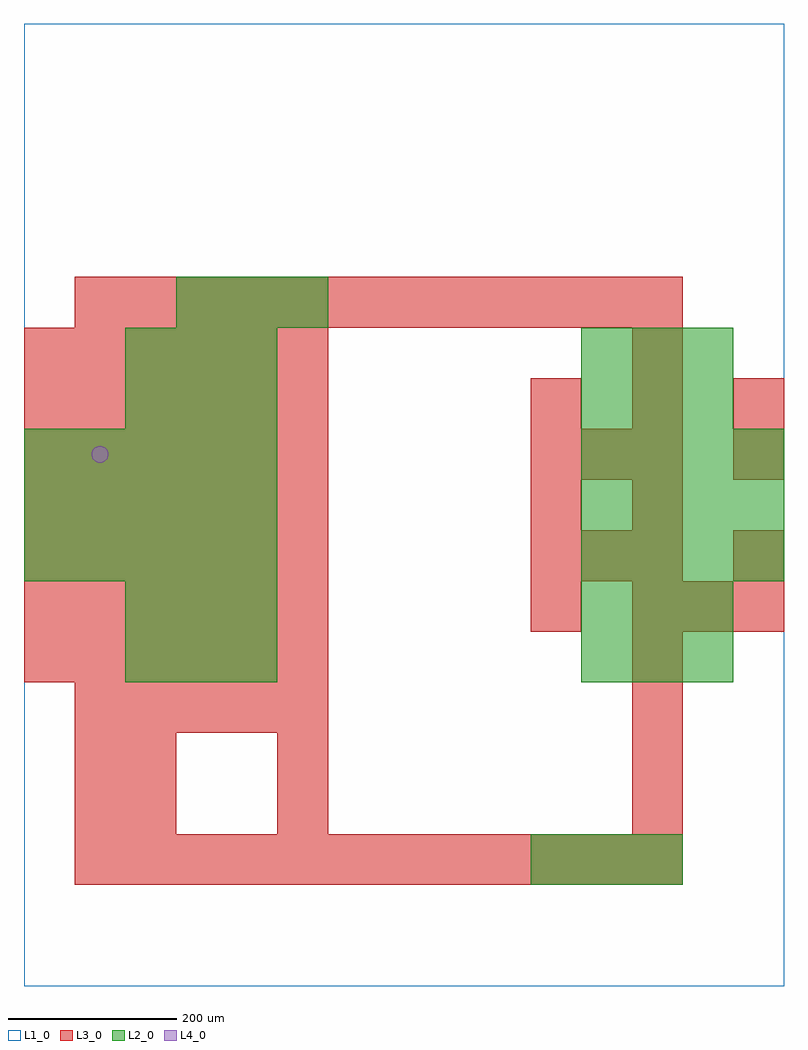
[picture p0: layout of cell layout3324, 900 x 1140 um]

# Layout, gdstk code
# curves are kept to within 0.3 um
import gdstk
lib = gdstk.Library(unit=1e-6, precision=1e-09)
def R(c, l, rs):  # rectangles x0, y0, x1, y1
    for r in rs: c.add(gdstk.rectangle(r[:2], r[2:], *l))
def A(c, l, x, y, w, h, nx, ny, dx, dy):  # array of equal rectangles
    R(c, l, [(x+i*dx, y+j*dy, x+i*dx+w, y+j*dy+h) for i in range(nx) for j in range(ny)])
def P(c, l, *ps):  # polygons
    for p in ps: c.add(gdstk.Polygon(p, *l))
L1_0 = (1, 0)
L2_0 = (2, 0)
L3_0 = (3, 0)
L4_0 = (4, 0)

layout3324 = lib.new_cell('layout3324')
R(layout3324, L1_0, [(0,0,900,1140)])
A(layout3324, L2_0, 600, 120, 60, 60, 3, 1, 60, 0)
A(layout3324, L2_0, 120, 360, 60, 60, 3, 2, 60, 60)
A(layout3324, L2_0, 660, 360, 60, 60, 3, 2, 60, 60)
A(layout3324, L2_0, 0, 480, 60, 60, 5, 3, 60, 60)
A(layout3324, L2_0, 660, 480, 60, 60, 4, 3, 60, 60)
A(layout3324, L2_0, 120, 660, 60, 60, 3, 2, 60, 60)
A(layout3324, L2_0, 660, 660, 60, 60, 3, 2, 60, 60)
A(layout3324, L2_0, 180, 780, 60, 60, 3, 1, 60, 0)
A(layout3324, L3_0, 60, 120, 60, 60, 12, 2, 60, 660)
A(layout3324, L3_0, 720, 180, 60, 60, 1, 4, 0, 60)
A(layout3324, L3_0, 60, 300, 60, 60, 5, 1, 60, 0)
A(layout3324, L3_0, 0, 360, 60, 60, 6, 7, 60, 60)
A(layout3324, L3_0, 720, 420, 60, 60, 3, 1, 60, 0)
A(layout3324, L3_0, 600, 480, 60, 60, 3, 2, 60, 120)
A(layout3324, L3_0, 600, 660, 60, 60, 3, 1, 120, 0)
R(layout3324, L3_0, [(60,180,120,240), (120,180,180,240), (300,180,360,240), (60,240,120,300), (120,240,180,300), (300,240,360,300), (600,420,660,480), (840,480,900,540), (600,540,660,600), (720,540,780,600), (840,600,900,660), (720,720,780,780)])
P(layout3324, L4_0, [(100,630),(99.239,633.827),(97.071,637.071),(93.827,639.239),(90,640),(86.173,639.239),(82.929,637.071),(80.761,633.827),(80,630),(80.761,626.173),(82.929,622.929),(86.173,620.761),(90,620),(93.827,620.761),(97.071,622.929),(99.239,626.173)])

lib.write_gds('layout3324.gds')
